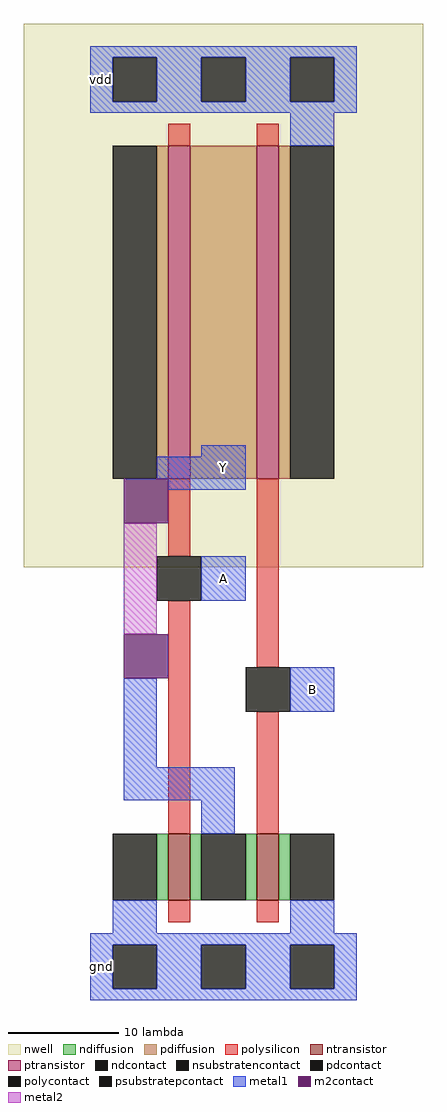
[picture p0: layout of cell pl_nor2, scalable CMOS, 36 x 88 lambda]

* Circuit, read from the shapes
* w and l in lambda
.subckt pl_nor2 A B Y vdd gnd
M1 Y A gnd gnd nfet w=6 l=2
M2 gnd B Y gnd nfet w=6 l=2
M3 n1 A Y vdd pfet w=30 l=2
M4 vdd B n1 vdd pfet w=30 l=2
.ends

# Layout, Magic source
magic
tech scmos
<< nwell >>
rect -6 36 30 85
<< ndiffusion >>
rect 6 6 7 12
rect 9 6 10 12
rect 14 6 15 12
rect 17 6 18 12
<< pdiffusion >>
rect 6 44 7 74
rect 9 44 15 74
rect 17 44 18 74
<< polysilicon >>
rect 7 4 9 6
rect 15 4 17 6
rect 7 12 9 33
rect 15 12 17 23
rect 15 27 17 44
rect 7 37 9 44
rect 7 74 9 76
rect 15 74 17 76
<< ntransistor >>
rect 7 6 9 12
rect 15 6 17 12
<< ptransistor >>
rect 7 44 9 74
rect 15 44 17 74
<< ndcontact >>
rect 2 6 6 12
rect 10 6 14 12
rect 18 6 22 12
<< pdcontact >>
rect 2 44 6 74
rect 18 44 22 74
<< polycontact >>
rect 14 23 18 27
rect 6 33 10 37
<< psubstratepcontact >>
rect 2 -2 6 2
rect 10 -2 14 2
rect 18 -2 22 2
<< nsubstratencontact >>
rect 2 78 6 82
rect 10 78 14 82
rect 18 78 22 82
<< metal1 >>
rect 0 -3 24 -2
rect 0 -2 2 2
rect 6 -2 10 2
rect 14 -2 18 2
rect 22 -2 24 2
rect 0 2 24 3
rect 2 3 6 6
rect 18 3 22 6
rect 10 12 13 15
rect 3 15 13 18
rect 3 18 6 26
rect 18 23 22 27
rect 10 33 14 37
rect 7 43 14 44
rect 6 44 14 46
rect 10 46 14 47
rect 18 74 22 77
rect 0 77 24 78
rect 0 78 2 82
rect 6 78 10 82
rect 14 78 18 82
rect 22 78 24 82
rect 0 82 24 83
<< m2contact >>
rect 3 26 7 30
rect 3 40 7 44
<< metal2 >>
rect 3 30 6 40
<< labels >>
rlabel metal1 s 10 33 14 37 0 A
port 1 nsew signal input
rlabel metal1 s 18 23 22 27 0 B
port 2 nsew signal input
rlabel metal1 s 10 43 14 47 0 Y
port 3 nsew signal output
rlabel metal1 s 0 77 2 83 0 vdd
port 4 nsew power bidirectional
rlabel metal1 s 0 -3 2 3 0 gnd
port 5 nsew ground bidirectional
<< properties >>
string FIXED_BBOX 0 0 24 80
<< end >>
